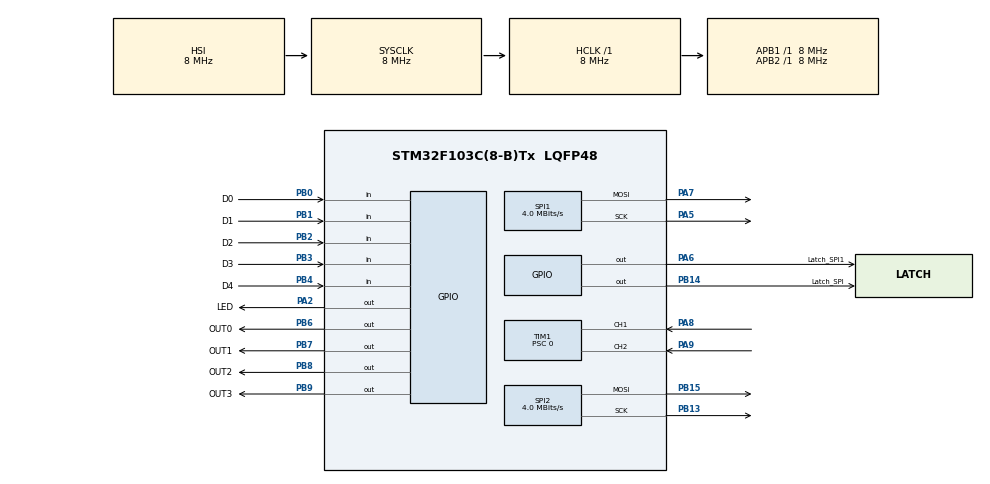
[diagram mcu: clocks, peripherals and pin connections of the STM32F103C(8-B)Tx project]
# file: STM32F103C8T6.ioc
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Mcu.Family=STM32F1
Mcu.Name=STM32F103C(8-B)Tx
Mcu.Package=LQFP48
NVIC.PriorityGroup=NVIC_PRIORITYGROUP_4
NVIC.TIM2_IRQn=true\:1\:0\:true\:false\:true\:true\:true\:true
PA13.Mode=Serial_Wire
PA13.Signal=SYS_JTMS-SWDIO
PA14.Mode=Serial_Wire
PA14.Signal=SYS_JTCK-SWCLK
PA2.GPIO_Label=LED
PA2.Signal=GPIO_Output
PA5.Mode=TX_Only_Simplex_Unidirect_Master
PA5.Signal=SPI1_SCK
PA6.GPIO_Label=Latch_SPI1
PA6.Signal=GPIO_Output
PA7.Mode=TX_Only_Simplex_Unidirect_Master
PA7.Signal=SPI1_MOSI
PA8.GPIO_PuPd=GPIO_PULLDOWN
PA8.Signal=S_TIM1_CH1
PA9.GPIO_PuPd=GPIO_PULLDOWN
PA9.Signal=S_TIM1_CH2
PB0.GPIO_Label=D0
PB0.GPIO_PuPd=GPIO_PULLDOWN
PB0.Signal=GPIO_Input
PB1.GPIO_Label=D1
PB1.GPIO_PuPd=GPIO_PULLDOWN
PB1.Signal=GPIO_Input
PB13.Mode=TX_Only_Simplex_Unidirect_Master
PB13.Signal=SPI2_SCK
PB14.GPIO_Label=Latch_SPI
PB14.GPIO_Speed=GPIO_SPEED_FREQ_HIGH
PB14.Signal=GPIO_Output
PB15.Mode=TX_Only_Simplex_Unidirect_Master
PB15.Signal=SPI2_MOSI
PB2.GPIO_Label=D2
PB2.GPIO_PuPd=GPIO_PULLDOWN
PB2.Signal=GPIO_Input
PB3.GPIO_Label=D3
PB3.GPIO_PuPd=GPIO_PULLDOWN
PB3.Signal=GPIO_Input
PB4.GPIO_Label=D4
PB4.GPIO_PuPd=GPIO_PULLDOWN
PB4.Signal=GPIO_Input
PB6.GPIO_Label=OUT0
PB6.Signal=GPIO_Output
PB7.GPIO_Label=OUT1
PB7.Signal=GPIO_Output
PB8.GPIO_Label=OUT2
PB8.Signal=GPIO_Output
PB9.GPIO_Label=OUT3
PB9.Signal=GPIO_Output
ProjectManager.HeapSize=0x200
ProjectManager.StackSize=0x400
ProjectManager.TargetToolchain=STM32CubeIDE
RCC.AHBFreq_Value=8000000
RCC.APB1Freq_Value=8000000
RCC.APB1TimFreq_Value=8000000
RCC.APB2Freq_Value=8000000
RCC.APB2TimFreq_Value=8000000
RCC.HCLKFreq_Value=8000000
RCC.PLLMUL=RCC_PLL_MUL16
RCC.SYSCLKFreq_VALUE=8000000
RCC.USBFreq_Value=64000000
SH.S_TIM1_CH1.0=TIM1_CH1,Encoder_Interface
SH.S_TIM1_CH2.0=TIM1_CH2,Encoder_Interface
SPI1.CalculateBaudRate=4.0 MBits/s
SPI1.Direction=SPI_DIRECTION_2LINES
SPI1.Mode=SPI_MODE_MASTER
SPI1.VirtualType=VM_MASTER
SPI2.CalculateBaudRate=4.0 MBits/s
SPI2.Direction=SPI_DIRECTION_2LINES
SPI2.Mode=SPI_MODE_MASTER
SPI2.VirtualType=VM_MASTER
TIM1.EncoderMode=TIM_ENCODERMODE_TI12
TIM1.Period=65535
TIM1.Prescaler=0
TIM2.Period=9
TIM2.Prescaler=7999
VP_TIM2_VS_ClockSourceINT.Mode=Internal
board=custom

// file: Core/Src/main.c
/* USER CODE BEGIN Header */
/**
  ******************************************************************************
  * @file           : main.c
  * @brief          : Main program body
  ******************************************************************************
  * @attention
  *
  * Copyright (c) 2024 STMicroelectronics.
  * All rights reserved.
  *
  * This software is licensed under terms that can be found in the LICENSE file
  * in the root directory of this software component.
  * If no LICENSE file comes with this software, it is provided AS-IS.
  *
  ******************************************************************************
  */
/* USER CODE END Header */
#include "main.h"

/* USER CODE BEGIN Includes */
#include <stdio.h>
#include "timer.h"
#include "KeyPad.h"
/* USER CODE END Includes */

SPI_HandleTypeDef hspi1;
SPI_HandleTypeDef hspi2;

TIM_HandleTypeDef htim1;
TIM_HandleTypeDef htim2;

/* USER CODE BEGIN PV */
uint8_t keyPressed = 0xFF;
uint32_t password = 345;
long unsigned int totalLiters = 25173777; //theo đơn vị ml tức là 1000 = 1 lít
long unsigned int totalLitersShift = 123456999;   //lít trong ca, có thể được reset khi giao ca

uint32_t encoderValue = 0;
uint32_t currPrice = 24000; // Giá xăng trên lít hiện tại (vnđ/L)
uint32_t roundedPrice = 24000;

uint32_t orderPrice=0;
double orderLiter=0;

uint32_t F1Price=10000;
uint32_t F2Price=15000;
uint32_t F3Price=20000;
uint32_t F4Price=50000;

int LEDPointFlag = 6; //No LEDs have point
/* USER CODE END PV */

void SystemClock_Config(void);
static void MX_GPIO_Init(void);
static void MX_SPI2_Init(void);
static void MX_TIM2_Init(void);
static void MX_SPI1_Init(void);
static void MX_TIM1_Init(void);

int main(void)
{

  /* MCU Configuration--------------------------------------------------------*/

  /* Reset of all peripherals, Initializes the Flash interface and the Systick. */
  HAL_Init();

  /* Configure the system clock */
  SystemClock_Config();

  /* Initialize all configured peripherals */
  MX_GPIO_Init();
  MX_SPI2_Init();
  MX_TIM2_Init();
  MX_SPI1_Init();
  MX_TIM1_Init();
  /* USER CODE BEGIN 2 */
  HAL_TIM_Base_Start_IT(&htim2);
  setTimer(0,100);
  setTimer(1,100);
  setTimer(2,100);

  /* USER CODE END 2 */

  /* Infinite loop */
  /* USER CODE BEGIN WHILE */

  while (1) {
	  KeyLogic();
	  // TIMER 0 /////////////////////////////////////
	  if(timer_flag[0]==1){

		  SevenSegLEDsScan();
		  encoderValue = __HAL_TIM_GET_COUNTER(&htim1);
		  setTimer(0,5);
	  }

	  // TIMER 1 /////////////////////////////////////
	  if(timer_flag[1]==1){
		  KeyLogic_Action();
		  setTimer(1,10);
	  }

	  // TIMER 2 /////////////////////////////////////
//	  if(timer_flag[2]==1){
//		  for(int i=0;i<3;i++){
//			  uint32_t temp=SevenSegBuffer[i]+1;
//			  if(temp<=999999){
//				  SevenSegBuffer[i]=temp;
//			  }
//		  }
//		  setTimer(2,100);
//	  }

    /* USER CODE END WHILE */

  }
}

void SystemClock_Config(void)
{
  RCC_OscInitTypeDef RCC_OscInitStruct = {0};
  RCC_ClkInitTypeDef RCC_ClkInitStruct = {0};

  /** Initializes the RCC Oscillators according to the specified parameters
  * in the RCC_OscInitTypeDef structure.
  */
  RCC_OscInitStruct.OscillatorType = RCC_OSCILLATORTYPE_HSI;
  RCC_OscInitStruct.HSIState = RCC_HSI_ON;
  RCC_OscInitStruct.HSICalibrationValue = RCC_HSICALIBRATION_DEFAULT;
  RCC_OscInitStruct.PLL.PLLState = RCC_PLL_NONE;
  if (HAL_RCC_OscConfig(&RCC_OscInitStruct) != HAL_OK)
  {
    Error_Handler();
  }

  /** Initializes the CPU, AHB and APB buses clocks
  */
  RCC_ClkInitStruct.ClockType = RCC_CLOCKTYPE_HCLK|RCC_CLOCKTYPE_SYSCLK
                              |RCC_CLOCKTYPE_PCLK1|RCC_CLOCKTYPE_PCLK2;
  RCC_ClkInitStruct.SYSCLKSource = RCC_SYSCLKSOURCE_HSI;
  RCC_ClkInitStruct.AHBCLKDivider = RCC_SYSCLK_DIV1;
  RCC_ClkInitStruct.APB1CLKDivider = RCC_HCLK_DIV1;
  RCC_ClkInitStruct.APB2CLKDivider = RCC_HCLK_DIV1;

  if (HAL_RCC_ClockConfig(&RCC_ClkInitStruct, FLASH_LATENCY_0) != HAL_OK)
  {
    Error_Handler();
  }
}

static void MX_SPI1_Init(void)
{

  /* SPI1 parameter configuration*/
  hspi1.Instance = SPI1;
  hspi1.Init.Mode = SPI_MODE_MASTER;
  hspi1.Init.Direction = SPI_DIRECTION_2LINES;
  hspi1.Init.DataSize = SPI_DATASIZE_8BIT;
  hspi1.Init.CLKPolarity = SPI_POLARITY_LOW;
  hspi1.Init.CLKPhase = SPI_PHASE_1EDGE;
  hspi1.Init.NSS = SPI_NSS_SOFT;
  hspi1.Init.BaudRatePrescaler = SPI_BAUDRATEPRESCALER_2;
  hspi1.Init.FirstBit = SPI_FIRSTBIT_MSB;
  hspi1.Init.TIMode = SPI_TIMODE_DISABLE;
  hspi1.Init.CRCCalculation = SPI_CRCCALCULATION_DISABLE;
  hspi1.Init.CRCPolynomial = 10;
  if (HAL_SPI_Init(&hspi1) != HAL_OK)
  {
    Error_Handler();
  }

}

static void MX_SPI2_Init(void)
{

  /* SPI2 parameter configuration*/
  hspi2.Instance = SPI2;
  hspi2.Init.Mode = SPI_MODE_MASTER;
  hspi2.Init.Direction = SPI_DIRECTION_2LINES;
  hspi2.Init.DataSize = SPI_DATASIZE_8BIT;
  hspi2.Init.CLKPolarity = SPI_POLARITY_LOW;
  hspi2.Init.CLKPhase = SPI_PHASE_1EDGE;
  hspi2.Init.NSS = SPI_NSS_SOFT;
  hspi2.Init.BaudRatePrescaler = SPI_BAUDRATEPRESCALER_2;
  hspi2.Init.FirstBit = SPI_FIRSTBIT_MSB;
  hspi2.Init.TIMode = SPI_TIMODE_DISABLE;
  hspi2.Init.CRCCalculation = SPI_CRCCALCULATION_DISABLE;
  hspi2.Init.CRCPolynomial = 10;
  if (HAL_SPI_Init(&hspi2) != HAL_OK)
  {
    Error_Handler();
  }

}

static void MX_TIM1_Init(void)
{

  TIM_Encoder_InitTypeDef sConfig = {0};
  TIM_MasterConfigTypeDef sMasterConfig = {0};

  htim1.Instance = TIM1;
  htim1.Init.Prescaler = 0;
  htim1.Init.CounterMode = TIM_COUNTERMODE_UP;
  htim1.Init.Period = 65535;
  htim1.Init.ClockDivision = TIM_CLOCKDIVISION_DIV1;
  htim1.Init.RepetitionCounter = 0;
  htim1.Init.AutoReloadPreload = TIM_AUTORELOAD_PRELOAD_DISABLE;
  sConfig.EncoderMode = TIM_ENCODERMODE_TI12;
  sConfig.IC1Polarity = TIM_ICPOLARITY_RISING;
  sConfig.IC1Selection = TIM_ICSELECTION_DIRECTTI;
  sConfig.IC1Prescaler = TIM_ICPSC_DIV1;
  sConfig.IC1Filter = 0;
  sConfig.IC2Polarity = TIM_ICPOLARITY_RISING;
  sConfig.IC2Selection = TIM_ICSELECTION_DIRECTTI;
  sConfig.IC2Prescaler = TIM_ICPSC_DIV1;
  sConfig.IC2Filter = 0;
  if (HAL_TIM_Encoder_Init(&htim1, &sConfig) != HAL_OK)
  {
    Error_Handler();
  }
  sMasterConfig.MasterOutputTrigger = TIM_TRGO_RESET;
  sMasterConfig.MasterSlaveMode = TIM_MASTERSLAVEMODE_DISABLE;
  if (HAL_TIMEx_MasterConfigSynchronization(&htim1, &sMasterConfig) != HAL_OK)
  {
    Error_Handler();
  }
  /* USER CODE BEGIN TIM1_Init 2 */
  HAL_TIM_Encoder_Start(&htim1, TIM_CHANNEL_ALL);
  /* USER CODE END TIM1_Init 2 */

}

static void MX_TIM2_Init(void)
{

  TIM_ClockConfigTypeDef sClockSourceConfig = {0};
  TIM_MasterConfigTypeDef sMasterConfig = {0};

  htim2.Instance = TIM2;
  htim2.Init.Prescaler = 7999;
  htim2.Init.CounterMode = TIM_COUNTERMODE_UP;
  htim2.Init.Period = 9;
  htim2.Init.ClockDivision = TIM_CLOCKDIVISION_DIV1;
  htim2.Init.AutoReloadPreload = TIM_AUTORELOAD_PRELOAD_DISABLE;
  if (HAL_TIM_Base_Init(&htim2) != HAL_OK)
  {
    Error_Handler();
  }
  sClockSourceConfig.ClockSource = TIM_CLOCKSOURCE_INTERNAL;
  if (HAL_TIM_ConfigClockSource(&htim2, &sClockSourceConfig) != HAL_OK)
  {
    Error_Handler();
  }
  sMasterConfig.MasterOutputTrigger = TIM_TRGO_RESET;
  sMasterConfig.MasterSlaveMode = TIM_MASTERSLAVEMODE_DISABLE;
  if (HAL_TIMEx_MasterConfigSynchronization(&htim2, &sMasterConfig) != HAL_OK)
  {
    Error_Handler();
  }

}

static void MX_GPIO_Init(void)
{
  GPIO_InitTypeDef GPIO_InitStruct = {0};

  /* GPIO Ports Clock Enable */
  __HAL_RCC_GPIOA_CLK_ENABLE();
  __HAL_RCC_GPIOB_CLK_ENABLE();

  /*Configure GPIO pin Output Level */
  HAL_GPIO_WritePin(GPIOA, LED_Pin|Latch_SPI1_Pin, GPIO_PIN_RESET);

  /*Configure GPIO pin Output Level */
  HAL_GPIO_WritePin(GPIOB, Latch_SPI_Pin|OUT0_Pin|OUT1_Pin|OUT2_Pin
                          |OUT3_Pin, GPIO_PIN_RESET);

  /*Configure GPIO pins : LED_Pin Latch_SPI1_Pin */
  GPIO_InitStruct.Pin = LED_Pin|Latch_SPI1_Pin;
  GPIO_InitStruct.Mode = GPIO_MODE_OUTPUT_PP;
  GPIO_InitStruct.Pull = GPIO_NOPULL;
  GPIO_InitStruct.Speed = GPIO_SPEED_FREQ_LOW;
  HAL_GPIO_Init(GPIOA, &GPIO_InitStruct);

  /*Configure GPIO pins : D0_Pin D1_Pin D2_Pin D3_Pin
                           D4_Pin */
  GPIO_InitStruct.Pin = D0_Pin|D1_Pin|D2_Pin|D3_Pin
                          |D4_Pin;
  GPIO_InitStruct.Mode = GPIO_MODE_INPUT;
  GPIO_InitStruct.Pull = GPIO_PULLDOWN;
  HAL_GPIO_Init(GPIOB, &GPIO_InitStruct);

  /*Configure GPIO pin : Latch_SPI_Pin */
  GPIO_InitStruct.Pin = Latch_SPI_Pin;
  GPIO_InitStruct.Mode = GPIO_MODE_OUTPUT_PP;
  GPIO_InitStruct.Pull = GPIO_NOPULL;
  GPIO_InitStruct.Speed = GPIO_SPEED_FREQ_HIGH;
  HAL_GPIO_Init(Latch_SPI_GPIO_Port, &GPIO_InitStruct);

  /*Configure GPIO pins : OUT0_Pin OUT1_Pin OUT2_Pin OUT3_Pin */
  GPIO_InitStruct.Pin = OUT0_Pin|OUT1_Pin|OUT2_Pin|OUT3_Pin;
  GPIO_InitStruct.Mode = GPIO_MODE_OUTPUT_PP;
  GPIO_InitStruct.Pull = GPIO_NOPULL;
  GPIO_InitStruct.Speed = GPIO_SPEED_FREQ_LOW;
  HAL_GPIO_Init(GPIOB, &GPIO_InitStruct);

}

/* USER CODE BEGIN 4 */
void HAL_TIM_PeriodElapsedCallback(TIM_HandleTypeDef *htim){
	timerRun();

}

/* USER CODE END 4 */

void Error_Handler(void)
{
  __disable_irq();
  while (1) {
  }
}
